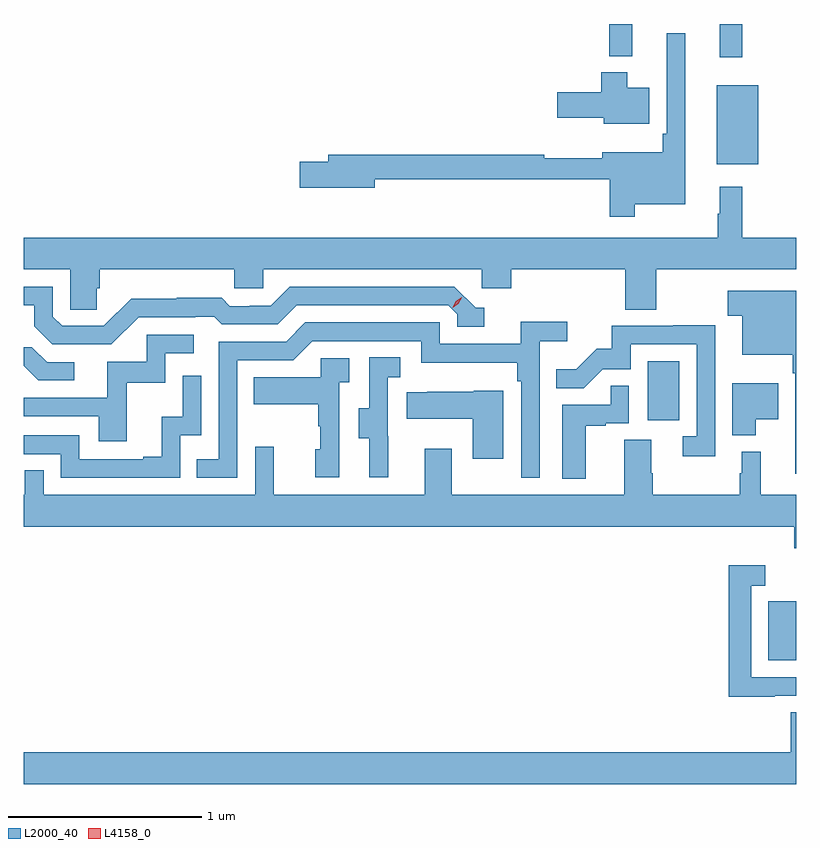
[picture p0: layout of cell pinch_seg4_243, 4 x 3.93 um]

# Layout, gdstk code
import gdstk
lib = gdstk.Library(unit=1e-6, precision=1e-09)
def R(c, l, rs):  # rectangles x0, y0, x1, y1
    for r in rs: c.add(gdstk.rectangle(r[:2], r[2:], *l))
def P(c, l, *ps):  # polygons
    for p in ps: c.add(gdstk.Polygon(p, *l))
L2000_40 = (2000, 40)
L4158_0 = (4158, 0)

pinch_seg4_243 = lib.new_cell('pinch_seg4_243')
R(pinch_seg4_243, L2000_40, [(912.794,824.1,912.939,824.407), (912.17,825.342,912.334,825.649), (912.527,826.667,912.742,827.077), (912.542,827.223,912.659,827.394), (911.971,827.228,912.089,827.394)])
P(pinch_seg4_243, L2000_40, [(912.103,826.46),(912.364,826.46),(912.364,827.347),(912.267,827.347),(912.267,826.825),(912.247,826.825),(912.247,826.729),(911.934,826.729),(911.934,826.7),(911.634,826.7),(911.634,826.718),(910.517,826.718),(910.517,826.682),(910.368,826.682),(910.368,826.547),(910.756,826.547),(910.756,826.59),(911.974,826.59),(911.974,826.395),(912.103,826.395)],
  [(912.178,827.065),(912.064,827.065),(912.064,827.143),(911.93,827.143),(911.93,827.04),(911.7,827.04),(911.7,826.91),(911.942,826.91),(911.942,826.877),(912.178,826.877)],
  [(909.317,826.026),(909.332,826.026),(909.332,826.124),(910.029,826.124),(910.029,826.026),(910.179,826.026),(910.179,826.124),(911.31,826.124),(911.31,826.026),(911.462,826.026),(911.462,826.124),(912.053,826.124),(912.053,825.916),(912.213,825.916),(912.213,826.124),(912.939,826.124),(912.939,826.288),(912.659,826.288),(912.659,826.552),(912.542,826.552),(912.542,826.412),(912.531,826.412),(912.531,826.288),(908.939,826.288),(908.939,826.124),(909.18,826.124),(909.18,825.916),(909.317,825.916)],
  [(909.534,825.876),(909.827,825.876),(909.827,825.879),(909.926,825.879),(909.965,825.84),(910.254,825.84),(910.353,825.939),(911.136,825.939),(911.184,825.891),(911.184,825.828),(911.323,825.828),(911.323,825.924),(911.28,825.924),(911.169,826.035),(910.316,826.035),(910.217,825.936),(910.11,825.936),(910.11,825.933),(910.007,825.933),(909.965,825.976),(909.732,825.976),(909.732,825.973),(909.496,825.973),(909.354,825.831),(909.138,825.831),(909.09,825.879),(909.09,826.035),(908.939,826.035),(908.939,825.939),(908.993,825.939),(908.993,825.829),(909.087,825.735),(909.393,825.735)],
  [(912.939,826.012),(912.585,826.012),(912.585,825.883),(912.659,825.883),(912.659,825.683),(912.921,825.683),(912.921,825.587),(912.933,825.587),(912.933,825.066),(912.939,825.066)],
  [(910.044,825.654),(910.335,825.654),(910.434,825.753),(910.998,825.753),(910.998,825.641),(911.494,825.641),(911.494,825.545),(911.514,825.545),(911.514,825.045),(911.61,825.045),(911.61,825.752),(911.752,825.752),(911.752,825.854),(911.513,825.854),(911.513,825.738),(911.094,825.738),(911.094,825.849),(910.397,825.849),(910.298,825.75),(909.948,825.75),(909.948,825.141),(909.835,825.141),(909.835,825.045),(910.044,825.045)],
  [(912.519,825.835),(912.301,825.835),(912.301,825.831),(911.983,825.831),(911.983,825.714),(911.906,825.714),(911.799,825.607),(911.695,825.607),(911.695,825.508),(911.838,825.508),(911.936,825.606),(912.081,825.606),(912.081,825.735),(912.423,825.735),(912.423,825.261),(912.351,825.261),(912.351,825.156),(912.519,825.156)],
  [(909.473,825.537),(909.672,825.537),(909.672,825.69),(909.82,825.69),(909.82,825.786),(909.576,825.786),(909.576,825.645),(909.371,825.645),(909.371,825.459),(908.939,825.459),(908.939,825.363),(909.329,825.363),(909.329,825.234),(909.473,825.234)],
  [(909.202,825.642),(909.06,825.642),(908.98,825.722),(908.939,825.722),(908.939,825.624),(909.014,825.549),(909.202,825.549)],
  [(910.826,825.261),(910.824,825.261),(910.824,825.565),(910.888,825.565),(910.888,825.668),(910.728,825.668),(910.728,825.405),(910.673,825.405),(910.673,825.25),(910.727,825.25),(910.727,825.048),(910.826,825.048)],
  [(910.572,825.539),(910.624,825.539),(910.624,825.663),(910.476,825.663),(910.476,825.565),(910.129,825.565),(910.129,825.425),(910.464,825.425),(910.464,825.311),(910.474,825.311),(910.474,825.192),(910.448,825.192),(910.448,825.048),(910.572,825.048)],
  [(909.75,825.264),(909.858,825.264),(909.858,825.574),(909.762,825.574),(909.762,825.362),(909.653,825.362),(909.653,825.154),(909.557,825.154),(909.557,825.141),(909.228,825.141),(909.228,825.264),(908.939,825.264),(908.939,825.168),(909.132,825.168),(909.132,825.045),(909.75,825.045)],
  [(912.73,825.347),(912.844,825.347),(912.844,825.535),(912.608,825.535),(912.608,825.266),(912.73,825.266)],
  [(911.848,825.315),(911.951,825.315),(911.951,825.327),(912.072,825.327),(912.072,825.521),(911.977,825.521),(911.977,825.423),(911.726,825.423),(911.726,825.041),(911.848,825.041)],
  [(911.422,825.496),(911.268,825.496),(911.268,825.49),(911.029,825.49),(911.029,825.487),(910.921,825.487),(910.921,825.35),(911.264,825.35),(911.264,825.144),(911.422,825.144)],
  [(911.015,825.196),(911.015,824.956),(910.235,824.956),(910.235,825.205),(910.137,825.205),(910.137,824.956),(909.042,824.956),(909.042,825.083),(908.946,825.083),(908.946,824.956),(908.939,824.956),(908.939,824.792),(912.929,824.792),(912.929,824.68),(912.939,824.68),(912.939,824.956),(912.755,824.956),(912.755,825.181),(912.656,825.181),(912.656,825.068),(912.645,825.068),(912.645,824.956),(912.195,824.956),(912.195,825.068),(912.187,825.068),(912.187,825.242),(912.047,825.242),(912.047,824.956),(911.155,824.956),(911.155,825.196)],
  [(912.827,823.917),(912.939,823.917),(912.939,824.013),(912.705,824.013),(912.705,824.487),(912.778,824.487),(912.778,824.593),(912.589,824.593),(912.589,823.912),(912.827,823.912)],
  [(912.939,823.832),(912.911,823.832),(912.911,823.624),(908.939,823.624),(908.939,823.46),(912.939,823.46)])
P(pinch_seg4_243, L4158_0, [(911.159,825.925),(911.159,825.926),(911.175,825.959),(911.206,825.979),(911.206,825.979),(911.206,825.978),(911.19,825.945),(911.159,825.925)])

lib.write_gds('pinch_seg4_243.gds')
